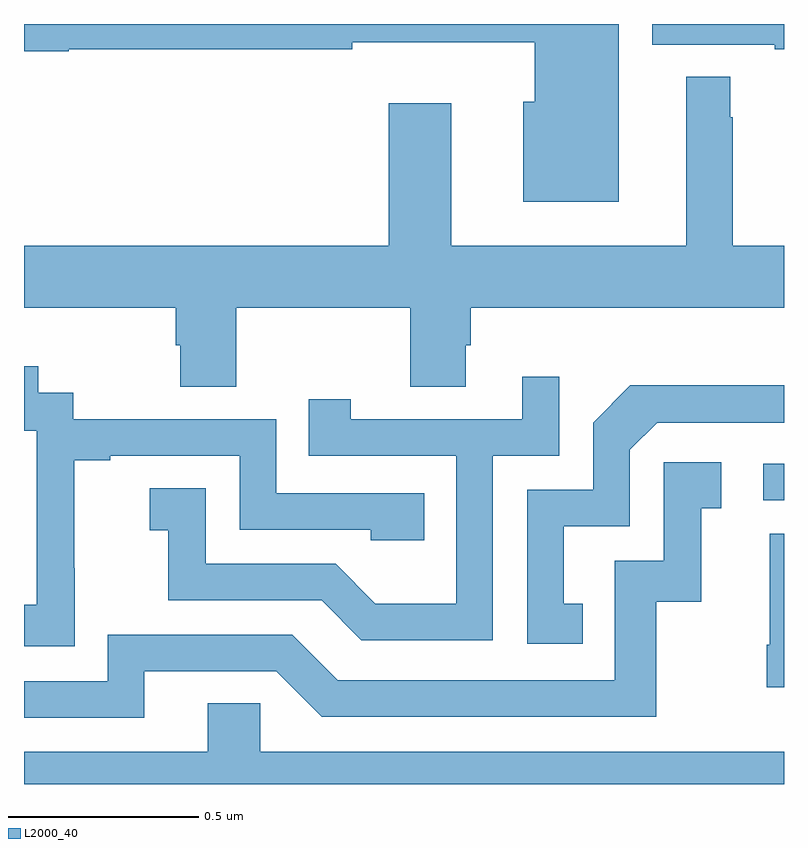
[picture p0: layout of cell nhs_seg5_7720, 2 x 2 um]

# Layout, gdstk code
import gdstk
lib = gdstk.Library(unit=1e-6, precision=1e-09)
def R(c, l, rs):  # rectangles x0, y0, x1, y1
    for r in rs: c.add(gdstk.rectangle(r[:2], r[2:], *l))
def P(c, l, *ps):  # polygons
    for p in ps: c.add(gdstk.Polygon(p, *l))
L2000_40 = (2000, 40)

nhs_seg5_7720 = lib.new_cell('nhs_seg5_7720')
R(nhs_seg5_7720, L2000_40, [(213.945,897.546,214,897.642)])
P(nhs_seg5_7720, L2000_40, [(214,898.799),(213.653,898.799),(213.653,898.745),(213.976,898.745),(213.976,898.732),(214,898.732)],
  [(213.565,898.799),(212,898.799),(212,898.727),(212.118,898.727),(212.118,898.732),(212.864,898.732),(212.864,898.751),(213.344,898.751),(213.344,898.594),(213.314,898.594),(213.314,898.331),(213.565,898.331)],
  [(212.559,898.052),(213.016,898.052),(213.016,897.844),(213.163,897.844),(213.163,897.954),(213.176,897.954),(213.176,898.052),(214,898.052),(214,898.216),(213.865,898.216),(213.865,898.553),(213.858,898.553),(213.858,898.66),(213.743,898.66),(213.743,898.216),(213.124,898.216),(213.124,898.591),(212.96,898.591),(212.96,898.216),(212,898.216),(212,898.052),(212.399,898.052),(212.399,897.954),(212.411,897.954),(212.411,897.844),(212.559,897.844)],
  [(212.133,897.367),(212.132,897.367),(212.132,897.651),(212.227,897.651),(212.227,897.663),(212.568,897.663),(212.568,897.468),(212.913,897.468),(212.913,897.441),(213.053,897.441),(213.053,897.564),(212.664,897.564),(212.664,897.759),(212.13,897.759),(212.13,897.828),(212.038,897.828),(212.038,897.898),(212,897.898),(212,897.729),(212.034,897.729),(212.034,897.5),(212.033,897.5),(212.033,897.271),(212,897.271),(212,897.161),(212.133,897.161)],
  [(213.234,897.663),(213.408,897.663),(213.408,897.871),(213.311,897.871),(213.311,897.759),(212.86,897.759),(212.86,897.811),(212.749,897.811),(212.749,897.663),(213.138,897.663),(213.138,897.274),(212.924,897.274),(212.82,897.378),(212.478,897.378),(212.478,897.577),(212.331,897.577),(212.331,897.467),(212.38,897.467),(212.38,897.282),(212.783,897.282),(212.888,897.177),(213.234,897.177)],
  [(213.47,897.273),(213.421,897.273),(213.421,897.477),(213.594,897.477),(213.594,897.678),(213.666,897.75),(214,897.75),(214,897.848),(213.596,897.848),(213.498,897.75),(213.498,897.573),(213.324,897.573),(213.324,897.168),(213.47,897.168)],
  [(212.317,897.096),(212.664,897.096),(212.784,896.976),(213.664,896.976),(213.664,897.279),(213.782,897.279),(213.782,897.525),(213.835,897.525),(213.835,897.646),(213.684,897.646),(213.684,897.387),(213.555,897.387),(213.555,897.072),(212.826,897.072),(212.706,897.192),(212.22,897.192),(212.22,897.069),(212,897.069),(212,896.973),(212.317,896.973)],
  [(214,897.457),(213.962,897.457),(213.962,897.166),(213.955,897.166),(213.955,897.054),(214,897.054)],
  [(214,896.884),(212.622,896.884),(212.622,897.011),(212.483,897.011),(212.483,896.884),(212,896.884),(212,896.799),(214,896.799)])

lib.write_gds('nhs_seg5_7720.gds')
